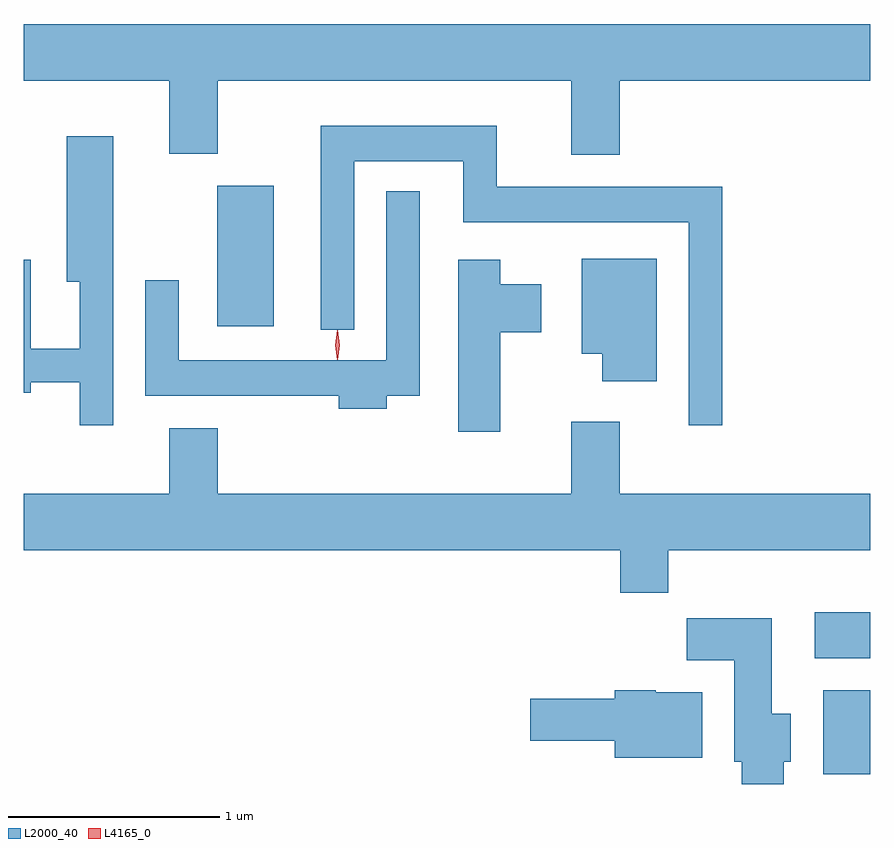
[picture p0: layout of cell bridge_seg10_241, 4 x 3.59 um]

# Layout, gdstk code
import gdstk
lib = gdstk.Library(unit=1e-6, precision=1e-09)
def R(c, l, rs):  # rectangles x0, y0, x1, y1
    for r in rs: c.add(gdstk.rectangle(r[:2], r[2:], *l))
def P(c, l, *ps):  # polygons
    for p in ps: c.add(gdstk.Polygon(p, *l))
L2000_40 = (2000, 40)
L4165_0 = (4165, 0)

bridge_seg10_241 = lib.new_cell('bridge_seg10_241')
R(bridge_seg10_241, L2000_40, [(1788.411,2097.316,1788.633,2097.714), (1788.371,2097.866,1788.633,2098.084), (1785.546,2099.436,1785.814,2100.099)])
P(bridge_seg10_241, L2000_40, [(1787.449,2100.596),(1788.633,2100.596),(1788.633,2100.864),(1784.633,2100.864),(1784.633,2100.596),(1785.321,2100.596),(1785.321,2100.251),(1785.549,2100.251),(1785.549,2100.596),(1787.221,2100.596),(1787.221,2100.246),(1787.449,2100.246)],
  [(1787.934,2100.094),(1786.869,2100.094),(1786.869,2100.384),(1786.036,2100.384),(1786.036,2099.418),(1786.194,2099.418),(1786.194,2100.216),(1786.711,2100.216),(1786.711,2099.926),(1787.776,2099.926),(1787.776,2098.968),(1787.934,2098.968)],
  [(1785.054,2100.334),(1784.836,2100.334),(1784.836,2099.646),(1784.896,2099.646),(1784.896,2099.329),(1784.664,2099.329),(1784.664,2099.749),(1784.633,2099.749),(1784.633,2099.121),(1784.664,2099.121),(1784.664,2099.171),(1784.896,2099.171),(1784.896,2098.968),(1785.054,2098.968)],
  [(1786.349,2099.106),(1786.504,2099.106),(1786.504,2100.073),(1786.346,2100.073),(1786.346,2099.274),(1785.364,2099.274),(1785.364,2099.653),(1785.206,2099.653),(1785.206,2099.106),(1786.121,2099.106),(1786.121,2099.046),(1786.349,2099.046)],
  [(1787.624,2099.754),(1787.271,2099.754),(1787.271,2099.306),(1787.366,2099.306),(1787.366,2099.176),(1787.624,2099.176)],
  [(1786.884,2099.406),(1787.079,2099.406),(1787.079,2099.634),(1786.884,2099.634),(1786.884,2099.749),(1786.686,2099.749),(1786.686,2098.936),(1786.884,2098.936)],
  [(1787.679,2098.376),(1788.633,2098.376),(1788.633,2098.644),(1787.449,2098.644),(1787.449,2098.984),(1787.221,2098.984),(1787.221,2098.644),(1785.549,2098.644),(1785.549,2098.954),(1785.321,2098.954),(1785.321,2098.644),(1784.633,2098.644),(1784.633,2098.376),(1787.451,2098.376),(1787.451,2098.176),(1787.679,2098.176)],
  [(1788.224,2097.376),(1788.259,2097.376),(1788.259,2097.604),(1788.169,2097.604),(1788.169,2098.054),(1787.766,2098.054),(1787.766,2097.856),(1787.991,2097.856),(1787.991,2097.376),(1788.026,2097.376),(1788.026,2097.271),(1788.224,2097.271)],
  [(1787.839,2097.704),(1787.62,2097.704),(1787.62,2097.714),(1787.426,2097.714),(1787.426,2097.674),(1787.026,2097.674),(1787.026,2097.476),(1787.426,2097.476),(1787.426,2097.396),(1787.839,2097.396)])
P(bridge_seg10_241, L4165_0, [(1786.114,2099.277),(1786.105,2099.346),(1786.114,2099.416),(1786.115,2099.416),(1786.116,2099.416),(1786.125,2099.346),(1786.116,2099.277),(1786.115,2099.277)],
  [(1786.114,2099.279),(1786.114,2099.28),(1786.104,2099.346),(1786.114,2099.412),(1786.114,2099.413),(1786.115,2099.412),(1786.124,2099.346),(1786.115,2099.28)])

lib.write_gds('bridge_seg10_241.gds')
